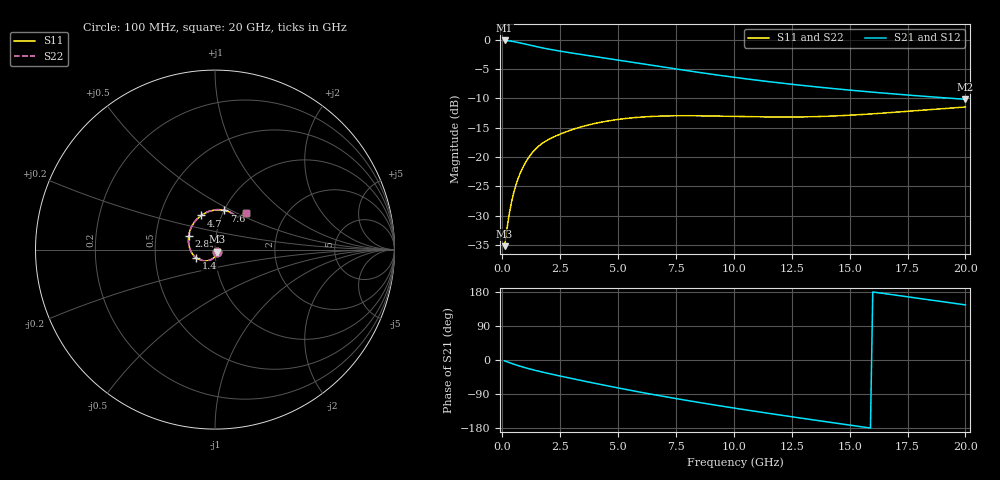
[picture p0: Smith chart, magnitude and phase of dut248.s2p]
! Touchstone file exported from HFSS 2023.1.0
!  File:  D:/Users/fzz/RDL_TSV/temp_RDL_TSV_248_1778759970.aedt
!  Generated:  8:11:33 %x4E0B%x5348  5%x6708 14, 2026
!  Design:  RDL_TSV
!  Project:  temp_RDL_TSV_248_1778759970
!  Setup:  Setup1
!  Solution:  Sweep
! Variables:
!  dtsv = 23.54um
!  hbump = 3um
!  htsv = 73.79um
!  ldown = 486.79um
!  lrdl = 293.03um
!  p = 40
!  p1 = 58.47um
!  rhole = 10um
!  subl = 2632.49um
!  t = 450um
!  tdown = 2.06um
!  trdl = 4.01um
!  viad = 10um
!  wdown = 25.59um
!  wrdl = 25.65um
!  xbump = 18um
# GHz S MA R 50.000000
! Terminal data exported
! Port[1] = TM1_1_T1
! Port[2] = TM1_4_T1
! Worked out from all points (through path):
!   200 points, 100 MHz to 20 GHz, reference 50 ohm
!   highest |S21| = -0.13 dB at 100 MHz (marker M1); lowest = -10.2 dB at 20 GHz (marker M2)
!   group delay of S21, straight-line fit = 28.1 ps
!   lowest |S11| = -35.2 dB at 100 MHz (marker M3), VSWR 1.04, Z = 51.3 - j1.16 ohm
!   |S11| at or under -10 dB: start of sweep to end of sweep
!   |S22| runs from -35.2 to -11.4 dB; largest |S21 - S12| = 2.3e-14
!   S11 on the Smith chart (normalised r, x): 100 MHz: 1.03, -0.02; 1.4 GHz: 0.81, -0.07; 2.8 GHz: 0.74, +0.12; 4.7 GHz: 0.80, +0.32; 7.6 GHz: 1.00, +0.46; 20 GHz: 1.28, +0.56
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0.1  0.01731 -40.7  0.9847 -2.3  0.9847 -2.3  0.01731 -40.7
! Gamma 0 0 0 0
! Port Impedance 50 0 50 0
0.2  0.02429 -65.9  0.9813 -4.6  0.9813 -4.6  0.02429 -65.9
0.3  0.03262 -81.7  0.9762 -6.9  0.9762 -6.9  0.03261 -81.7
0.4  0.04132 -93.1  0.9696 -9.0  0.9696 -9.0  0.04131 -93.1
0.6  0.05853 -110.3  0.9536 -13.2  0.9536 -13.2  0.05852 -110.3
0.8  0.07471 -124.0  0.9352 -17.0  0.9352 -17.0  0.07472 -124.1
1  0.08952 -136.0  0.916 -20.6  0.916 -20.6  0.08954 -136.2
1.4  0.1147 -156.9  0.8787 -27.0  0.8787 -27.0  0.1148 -157.1
1.9  0.1372 -178.7  0.8381 -34.3  0.8381 -34.3  0.1374 -178.9
2.8  0.165 152.6  0.7803 -46.3  0.7803 -46.3  0.1655 152.4
3.5  0.1825 135.2  0.7426 -55.3  0.7426 -55.3  0.1833 135.1
4.7  0.2047 111.8  0.6837 -70.1  0.6837 -70.1  0.2059 111.6
5.7  0.2162 96.8  0.6375 -81.9  0.6375 -81.9  0.2177 96.7
6.8  0.2228 83.9  0.5901 -94.3  0.5901 -94.3  0.2245 83.8
7.6  0.2244 76.5  0.5583 -102.8  0.5583 -102.8  0.2262 76.4
8.8  0.2237 68.0  0.5152 -115.1  0.5152 -115.1  0.2255 67.9
10.1  0.221 61.7  0.4751 -127.7  0.4751 -127.7  0.2229 61.7
11.7  0.2186 57.2  0.4339 -142.6  0.4339 -142.6  0.2205 57.3
13.4  0.2202 55.0  0.3985 -157.8  0.3985 -157.8  0.2222 55.1
15  0.2267 54.0  0.3712 -171.8  0.3712 -171.8  0.2288 54.1
16.7  0.2383 52.9  0.3471 173.6  0.3471 173.6  0.2406 53.1
20  0.2663 49.3  0.31 145.5  0.31 145.5  0.2692 49.6
